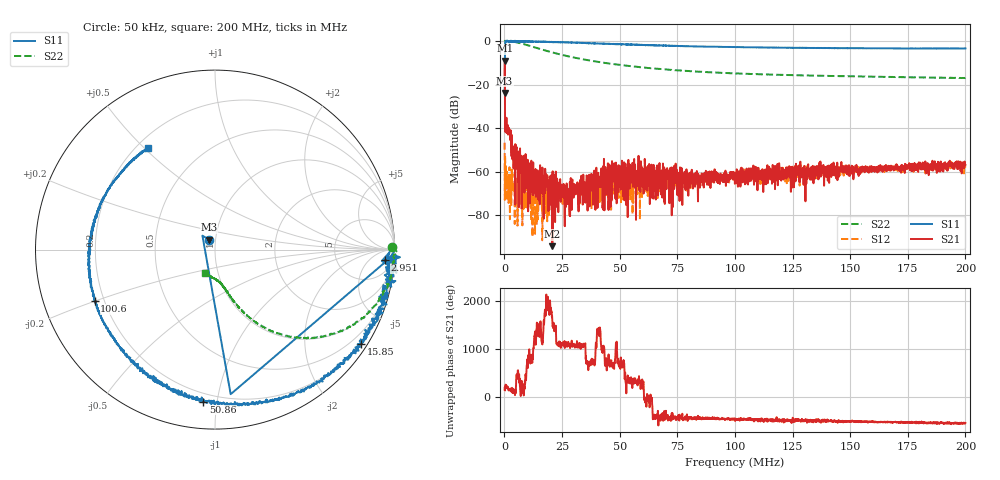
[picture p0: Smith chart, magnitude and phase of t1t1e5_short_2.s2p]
! 27-Aug-26 2:35:02 PM
! E:\20260827_VNA\T1T1E5_SHORT_2.S2P
! CHANNEL.1
! TR.MEASUREMENT
! CORRECTED.DATA
# GHZ S RI R 50.0
! FREQ.GHZ  S11RE  S11IM  S21RE  S21IM  S12RE  S12IM  S22RE  S22IM
!; PortSelection: Port_12
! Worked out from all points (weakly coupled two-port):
!   2000 points, 50 kHz to 200 MHz, reference 50 ohm
!   highest |S21| = -9.02 dB at 150 kHz (marker M1); lowest = -94.1 dB at 20.76 MHz (marker M2)
!   lowest |S11| = -23.9 dB at 50 kHz (marker M3), VSWR 1.14, Z = 46.5 + j5.13 ohm
!   |S11| at or under -10 dB: start of sweep to 204.1 kHz
!   |S22| runs from -17.0 to 0.1 dB; largest |S21 - S12| = 0.35
!   S11 on the Smith chart (normalised r, x): 50 kHz: 0.93, +0.10; 2.951 MHz: 16, -18; 15.85 MHz: 0.19, -3.38; 50.86 MHz: 0.15, -0.91; 100.6 MHz: 0.16, -0.20; 200 MHz: 0.24, +0.51
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5e-05  -0.0329 0.0549  -0.1447 0.0578  -0.00422 -0.00198  0.9839 0.0131
0.000150025  -0.0701 0.0776  -0.295 -0.196  -0.000174 -0.000143  1.001 0.003
0.0012503  0.9922 -0.0309  -0.00752 -0.00488  -0.00062 0.000143  0.9953 -0.0921
0.002950725  0.946 -0.0589  -0.00205 0.0042  0.000109 -0.000124  0.9623 -0.2019
0.006551626  0.9466 -0.2437  0.00229 0.00147  -0.000219 7.03e-05  0.8115 -0.39
0.01235308  0.8894 -0.4196  -0.000285 5.53e-05  -0.000118 0.000288  0.5529 -0.4902
0.01585395  0.8141 -0.5269  0.000549 -0.00037  0.000373 0.000309  0.4302 -0.4862
0.02075518  0.6924 -0.6357  -9.9e-06 1.7e-05  0.000267 0.000241  0.3119 -0.4521
0.02825705  0.5092 -0.7745  8.26e-05 5.42e-05  0.000333 7.69e-05  0.2054 -0.3899
0.03345835  0.3721 -0.8245  0.000557 2.73e-05  0.000371 -5.88e-05  0.1612 -0.3512
0.03595898  0.3076 -0.8458  0.000321 0.000202  0.000417 6e-07  0.1451 -0.3366
0.03805951  0.247 -0.8525  0.00039 -0.000283  0.000518 -2.58e-05  0.1347 -0.3244
0.05086271  -0.065 -0.8473  0.000112 -0.000454  0.000489 -0.000402  0.0876 -0.2662
0.05246311  -0.1029 -0.8377  0.00153 0.000258  0.000456 -0.000484  0.0847 -0.2598
0.05456363  -0.1452 -0.8256  0.00107 -0.000657  0.000138 -0.000189  0.0793 -0.2535
0.05796448  -0.2211 -0.7864  0.000796 -0.000284  0.000543 -0.0006  0.0726 -0.2436
0.06676668  -0.3688 -0.7091  -0.000296 0.000333  0.000295 -0.000732  0.0588 -0.2229
0.100075  -0.6675 -0.2892  -0.000452 -0.000465  -8.62e-05 -0.000794  0.0227 -0.1798
0.1005751  -0.6703 -0.2855  -0.000278 -0.000912  -0.000203 -0.000725  0.0225 -0.1791
0.1333833  -0.6915 0.0888  -0.000681 -0.00111  -0.000593 -0.000533  -0.00382 -0.1615
0.1666917  -0.5679 0.3739  -0.00114 -0.000554  -0.00104 -0.000369  -0.0296 -0.1471
0.2  -0.373 0.5663  -0.00143 -6.18e-05  -0.00146 0.00017  -0.0557 -0.1303
